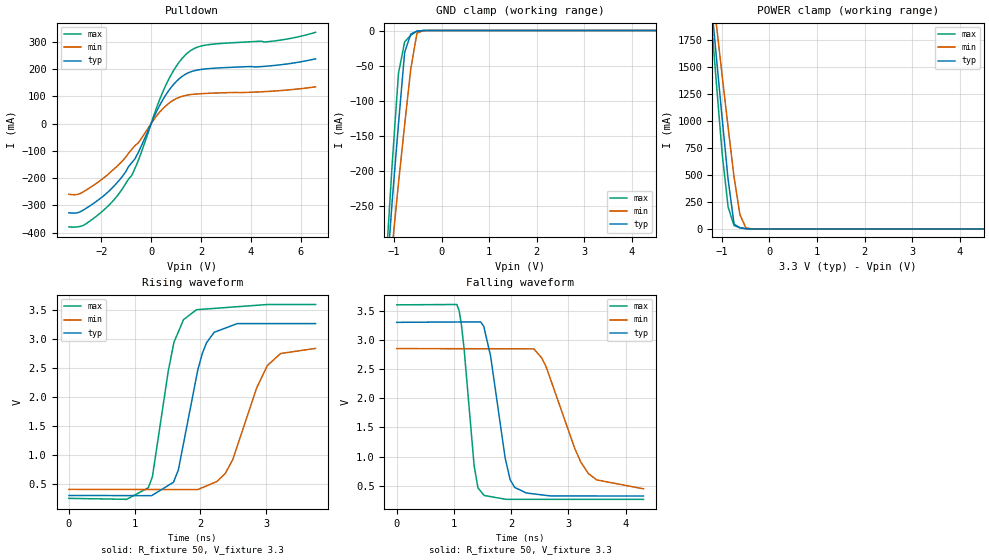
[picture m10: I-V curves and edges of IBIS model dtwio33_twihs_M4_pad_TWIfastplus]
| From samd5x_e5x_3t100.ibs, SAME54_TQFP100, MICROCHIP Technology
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|   MODEL : dtwio33_twihs_M4_pad_TWIfastplus
[Model] dtwio33_twihs_M4_pad_TWIfastplus
Model_type I/O_open_sink
Vinl  =  1.08
Vinh  =  2.52
Vmeas =  1.800
Vref  =  1.800
Rref  =  0
| Capacitance   typ   min   max
C_comp   2.784372869161766e-12   2.74618762596073e-12   2.828173684477898e-12
[Model Spec]
| Subparameter   typ   min   max
Vinl   0.99   0.855   1.08
Vinh   2.31   1.995   2.52
Vmeas   1.65   1.425   1.8
Vref   1.65   1.425   1.8
| Variables   typ   min   max
[GND Clamp Reference]   0   0   0
[POWER Clamp Reference]   3.3   2.85   3.6
[Pulldown Reference]   0   0   0
[Pullup Reference]   3.3   2.85   3.6
[Temperature Range]   25   125   -40
[Voltage Range]   3.3   2.85   3.6
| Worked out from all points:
|   slope of the pulldown table from 0 to 0.495 V, typ, clamps not added: 5.41 ohm
|   GND clamp passes 1 mA (typ) near -0.52 V on its own axis
|   POWER clamp passes 1 mA (typ) near -0.45 V on its own axis
|   rising waveform, R_fixture 50, V_fixture 3.3: 20-80 % time 319ps typ, 459ps min, 286ps max; typ from 0.303 V to 3.27 V
|   falling waveform, R_fixture 50, V_fixture 3.3: 20-80 % time 265ps typ, 535ps min, 177ps max; typ from 3.3 V to 0.323 V
[GND Clamp]
| Voltage   I(typ)   I(min)   I(max)
-3.3V     -2.811A    -2.445A    -3.176A
-1.164V   -360.2mA   -405.6mA   -328.3mA
-1.034V   -240.3mA   -306.5mA   -187.3mA
-905.2mV  -133.1mA   -217.4mA   -60.91mA
-775.9mV  -31.3mA    -134.4mA   -16.16mA
-646.6mV  -5.011mA   -54.58mA   -6.682mA
-517.2mV  -877.7uA   -3.713mA   -1.027mA
-387.9mV  -28.27uA   -139.7uA   -15.46uA
-258.6mV  -321.8nA   -3.949uA   -86.04nA
6.6V      0A         0A         0A
[POWER Clamp]
| Voltage   I(typ)   I(min)   I(max)
-3.3V     12.4A      10.96A     13.78A
-1.241V   2.197A     2.4A       2.047A
-1.117V   1.601A     1.903A     1.361A
-993.1mV  1.019A     1.416A     693.9mA
-869mV    458.6mA    942.1mA    202.4mA
-744.8mV  45.82mA    481.5mA    31.67mA
-620.7mV  9.704mA    132.6mA    12mA
-496.6mV  1.64mA     10.16mA    2.55mA
-372.4mV  58.76uA    488.7uA    132.1uA
6.6V      0A         0A         0A
[Pulldown]
| Voltage   I(typ)   I(min)   I(max)
-3.3V     -327.3mA   -259.3mA   -379mA
-2.716V   -317mA     -250mA     -373.6mA
-2.069V   -277mA     -210.8mA   -330.6mA
-1.293V   -209.5mA   -149.9mA   -257.4mA
-775.9mV  -143.2mA   -94.3mA    -190.2mA
-517.2mV  -106.4mA   -70.75mA   -136.3mA
569mV     102.7mA    63.54mA    136.9mA
1.024V    156mA      92.55mA    212.7mA
1.479V    186.3mA    105.4mA    261mA
2.276V    201.8mA    111.4mA    289.7mA
4.79V     212.3mA    118.9mA    302mA
6.6V      238mA      135.2mA    335.4mA
[Ramp]
dV/dt_r   1.79816/0.32449n  1.46509/0.4613n  2.00814/0.286424n
dV/dt_f   1.79816/0.268281n  1.46509/0.549265n  2.00814/0.177776n
R_load = 50
[Rising Waveform]
R_fixture = 50
V_fixture = 3.3
V_fixture_min = 2.85
V_fixture_max = 3.6
| Time   V(typ)   V(min)   V(max)
0s        303.1mV    408.2mV    253.1mV
1.208ns   299.8mV    405.9mV    435.6mV
1.27ns    307.1mV    405.7mV    623.3mV
1.592ns   531.6mV    405.1mV    2.904V
1.744ns   1.203V     404.8mV    3.336V
2.03ns    2.755V     437.5mV    3.514V
2.211ns   3.118V     524.3mV    3.529V
2.494ns   3.239V     925mV      3.553V
3.019ns   3.267V     2.544V     3.596V
3.753ns   3.267V     2.839V     3.597V
[Falling Waveform]
R_fixture = 50
V_fixture = 3.3
V_fixture_min = 2.85
V_fixture_max = 3.6
| Time   V(typ)   V(min)   V(max)
0s        3.3V       2.85V      3.6V
1.05ns    3.306V     2.848V     3.606V
1.176ns   3.306V     2.848V     2.848V
1.352ns   3.307V     2.848V     839.9mV
1.526ns   3.205V     2.847V     332.2mV
1.893ns   980.4mV    2.847V     268.6mV
2.059ns   471.2mV    2.846V     266mV
2.534ns   342.2mV    2.688V     265.9mV
3.349ns   323.3mV    706.8mV    265.9mV
4.312ns   323.3mV    446mV      265.9mV
